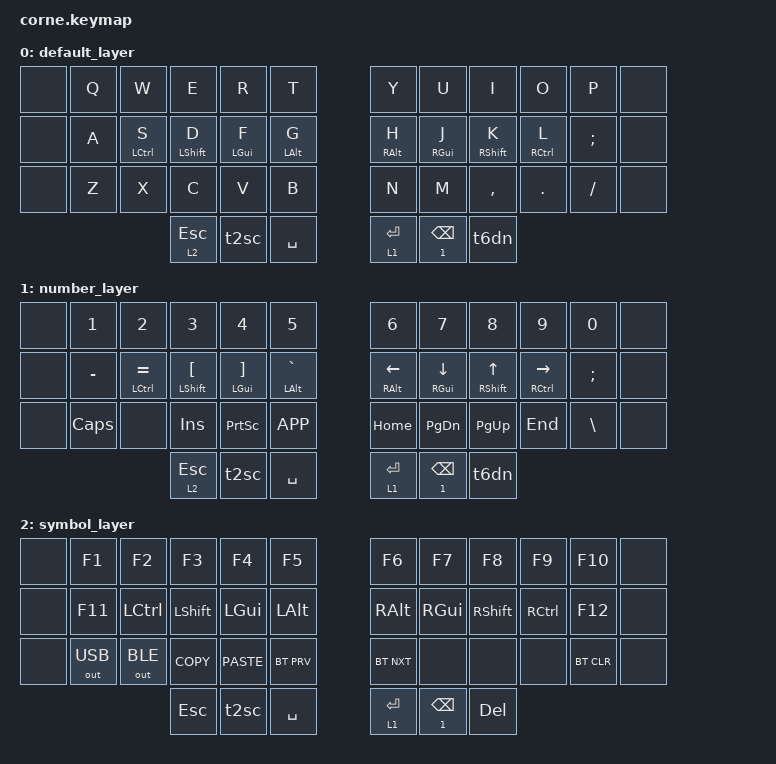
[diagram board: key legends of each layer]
#include <behaviors.dtsi>
#include <dt-bindings/zmk/keys.h>
#include <dt-bindings/zmk/bt.h>
#include <dt-bindings/zmk/outputs.h>

// Behavior Overrides

&mt {
  retro-tap;
  label = "Mod Tap";
  tapping-term-ms = <120>;
  flavor = "tap-preferred";
  bindings = <&kp>, <&kp>;
};

&sk {
    release-after-ms = <2000>;
    quick-release;
};

&caps_word {
    continue-list = <UNDERSCORE MINUS>;
};

// Macros

/ {
  macros {

    mls: macro_layer_shift {
      compatible = "zmk,behavior-macro-one-param";
      wait-ms = <0>;
      tap-ms = <0>;
      #binding-cells = <1>;
      bindings
        = <&macro_param_1to1>
        , <&macro_press &mo MACRO_PLACEHOLDER &kp LSHFT>
        , <&macro_pause_for_release>
        , <&macro_param_1to1>
        , <&macro_release &mo MACRO_PLACEHOLDER &kp LSHFT>
        ;
    };

  };
};

// Behaviors

/ {
  behaviors {

    // Hold Tap
    htls: hold_tap_layer_shift {
        compatible = "zmk,behavior-hold-tap";
        #binding-cells = <2>;
        flavor = "tap-preferred";
        tapping-term-ms = <180>;
        quick-tap-ms = <180>;
        bindings = <&mls>, <&kp>;
    };
    // -------------------------------------

    // Left thumb 2
    t2sc: tap_dance_shift_capsword {
      compatible = "zmk,behavior-tap-dance";
      #binding-cells = <0>;
      tapping-term-ms = <180>;
      bindings = <&sk LSHFT>, <&caps_word>;
    };

    // Right thumb 3
    t6dn: tap_dance_delete_number {
      compatible = "zmk,behavior-tap-dance";
      #binding-cells = <0>;
      tapping-term-ms = <180>;
      bindings = <&kp DEL>, <&tog 1>;
    };
    // -------------------------------------

  };
};

// Combos

/ {
  combos {
    compatible = "zmk,combos";

    combo_tab {
      timeout-ms = <50>;
      key-positions = <15 16>;
      bindings = <&kp TAB>;
    };

    combo_sqt {
      timeout-ms = <50>;
      key-positions = <21 22>;
      bindings = <&kp SQT>;
    };

 };
};

/ {
  keymap {
    compatible = "zmk,keymap";
    default_layer {
      bindings = <
&none &kp Q &kp W       &kp E        &kp R      &kp T        &kp Y      &kp U      &kp I        &kp O       &kp P    &none
&none &kp A &mt LCTRL S &mt LSHFT D  &mt LGUI F &mt LALT G   &mt RALT H &mt RGUI J &mt RSHFT K  &mt RCTRL L &kp SEMI &none
&none &kp Z &kp X       &kp C        &kp V      &kp B        &kp N      &kp M      &kp COMMA    &kp DOT     &kp FSLH &none
                        &lt 2 ESC    &t2sc      &kp SPACE    &lt 1 RET  &htls 1 BSPC   &t6dn
      >;
    };

    number_layer {
      bindings = <
&none &kp N1    &kp N2          &kp N3           &kp N4        &kp N5           &kp N6        &kp N7         &kp N8       &kp N9          &kp N0   &none
&none &kp MINUS &mt LCTRL EQUAL &mt LSHFT LBKT   &mt LGUI RBKT &mt LALT GRAVE   &mt RALT LEFT &mt RGUI DOWN  &mt RSHFT UP &mt RCTRL RIGHT &kp SEMI &none
&none &kp CAPS  &none           &kp INS          &kp PSCRN     &kp K_APP        &kp HOME      &kp PG_DN      &kp PG_UP    &kp END         &kp BSLH &none
                                &lt 2 ESC        &t2sc         &kp SPACE        &lt 1 RET     &htls 1 BSPC   &t6dn
      >;
    };

    symbol_layer {
      bindings = <
&none &kp F1       &kp F2        &kp F3     &kp F4      &kp F5       &kp F6      &kp F7   &kp F8    &kp F9    &kp F10    &none
&none &kp F11      &kp LCTRL     &kp LSHFT  &kp LGUI    &kp LALT     &kp RALT    &kp RGUI &kp RSHFT &kp RCTRL &kp F12    &none
&none &out OUT_USB &out OUT_BLE  &kp K_COPY &kp K_PASTE &bt BT_PRV   &bt BT_NXT  &none    &none     &none     &bt BT_CLR &none
                                 &kp ESC    &t2sc    &kp SPACE    &lt 1 RET   &htls 1 BSPC  &kp DEL
      >;
    };
  };
};
